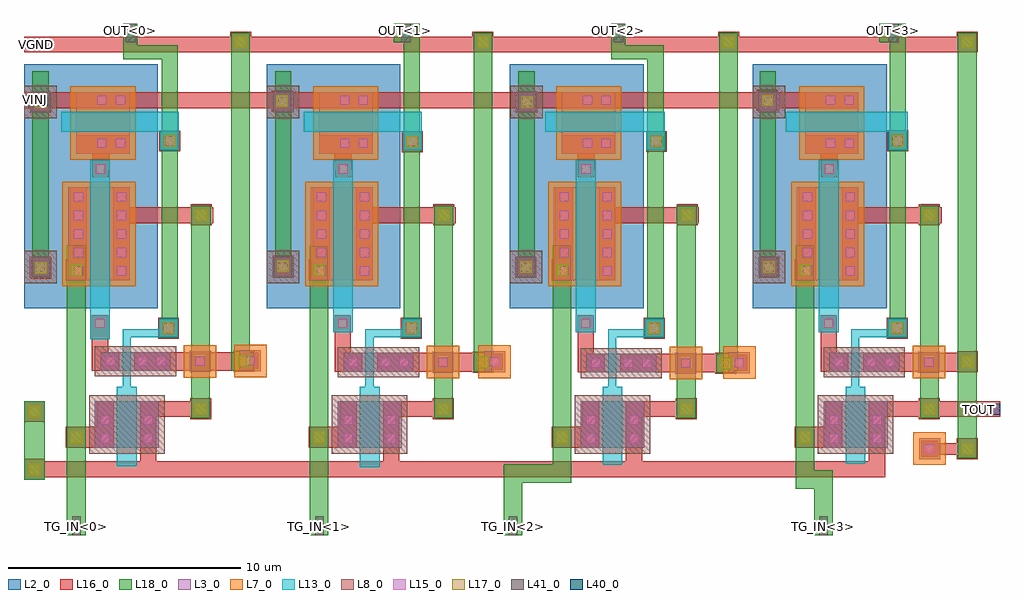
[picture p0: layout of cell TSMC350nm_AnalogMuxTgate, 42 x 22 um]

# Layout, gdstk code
from math import pi, radians
import gdstk
lib = gdstk.Library(unit=1e-6, precision=1e-09)
def R(c, l, rs):  # rectangles x0, y0, x1, y1
    for r in rs: c.add(gdstk.rectangle(r[:2], r[2:], *l))
def A(c, l, x, y, w, h, nx, ny, dx, dy):  # array of equal rectangles
    R(c, l, [(x+i*dx, y+j*dy, x+i*dx+w, y+j*dy+h) for i in range(nx) for j in range(ny)])
L2_0 = (2, 0)
L3_0 = (3, 0)
L7_0 = (7, 0)
L8_0 = (8, 0)
L13_0 = (13, 0)
L15_0 = (15, 0)
L16_0 = (16, 0)
L17_0 = (17, 0)
L18_0 = (18, 0)
L40_0 = (40, 0)
L41_0 = (41, 0)

m1_poly1_cdns_7299568910 = lib.new_cell('M1_POLY1_CDNS_729956891010')
R(m1_poly1_cdns_7299568910, L13_0, [(-0.4,-0.4,0.4,0.4)])
R(m1_poly1_cdns_7299568910, L15_0, [(-0.2,-0.2,0.2,0.2)])
R(m1_poly1_cdns_7299568910, L16_0, [(-0.35,-0.35,0.35,0.35)])

m2_m1_cdns_729956891011 = lib.new_cell('M2_M1_CDNS_729956891011')
R(m2_m1_cdns_729956891011, L16_0, [(-0.45,-0.45,0.45,0.45)])
R(m2_m1_cdns_729956891011, L17_0, [(-0.25,-0.25,0.25,0.25)])
R(m2_m1_cdns_729956891011, L18_0, [(-0.4,-0.4,0.4,0.4)])

m1_nactive_cdns_72995689 = lib.new_cell('M1_NACTIVE_CDNS_729956891012')
R(m1_nactive_cdns_72995689, L3_0, [(-0.45,-0.45,0.45,0.45)])
R(m1_nactive_cdns_72995689, L8_0, [(-0.7,-0.7,0.7,0.7)])
R(m1_nactive_cdns_72995689, L15_0, [(-0.2,-0.2,0.2,0.2)])
R(m1_nactive_cdns_72995689, L16_0, [(-0.35,-0.35,0.35,0.35)])

m1_pactive_cdns_72995689 = lib.new_cell('M1_PACTIVE_CDNS_729956891013')
R(m1_pactive_cdns_72995689, L3_0, [(-0.45,-0.45,0.45,0.45)])
R(m1_pactive_cdns_72995689, L7_0, [(-0.7,-0.7,0.7,0.7)])
R(m1_pactive_cdns_72995689, L15_0, [(-0.2,-0.2,0.2,0.2)])
R(m1_pactive_cdns_72995689, L16_0, [(-0.35,-0.35,0.35,0.35)])

tsmc350nm_analogmuxtgate = lib.new_cell('TSMC350nm_AnalogMuxTgate')
R(tsmc350nm_analogmuxtgate, L2_0, [(0,9.76,5.75,20.26), (10.44,9.76,16.2,20.26), (20.91,9.76,26.66,20.26), (31.37,9.76,37.12,20.26)])
A(tsmc350nm_analogmuxtgate, L3_0, 3.05, 3.76, 2.75, 2, 3, 1, 10.45, 0)
A(tsmc350nm_analogmuxtgate, L3_0, 1.9, 10.96, 2.65, 4, 3, 1, 10.45, 0)
A(tsmc350nm_analogmuxtgate, L3_0, 2.25, 16.41, 2.3, 2.65, 3, 1, 10.45, 0)
R(tsmc350nm_analogmuxtgate, L3_0, [(34.41,3.76,37.16,5.76), (24.2,7,27.2,7.8), (13.75,7.04,16.75,7.84), (34.66,7.04,37.66,7.84), (3.3,7.08,6.3,7.88), (33.26,10.96,35.91,14.96), (33.61,16.41,35.91,19.06)])
A(tsmc350nm_analogmuxtgate, L7_0, 1.65, 10.71, 3.15, 4.5, 3, 1, 10.45, 0)
A(tsmc350nm_analogmuxtgate, L7_0, 2, 16.16, 2.8, 3.15, 3, 1, 10.45, 0)
R(tsmc350nm_analogmuxtgate, L7_0, [(33.01,10.71,36.16,15.21), (33.36,16.16,36.16,19.31)])
A(tsmc350nm_analogmuxtgate, L8_0, 2.8, 3.51, 3.25, 2.5, 3, 1, 10.45, 0)
R(tsmc350nm_analogmuxtgate, L8_0, [(34.16,3.51,37.41,6.01), (23.95,6.75,27.45,8.05), (13.5,6.79,17,8.09), (34.41,6.79,37.91,8.09), (3.05,6.83,6.55,8.13)])
A(tsmc350nm_analogmuxtgate, L13_0, 4.24, 6.34, 0.35, 2.52, 3, 1, 10.45, 0)
A(tsmc350nm_analogmuxtgate, L13_0, 4.24, 8.51, 2.38, 0.35, 3, 1, 10.45, 0)
R(tsmc350nm_analogmuxtgate, L13_0, [(14.45,2.92,15.3,6.38), (4,2.96,4.85,6.38), (24.9,3.03,25.75,6.38), (35.36,3.07,36.21,6.38), (35.6,6.34,35.95,8.86), (2.85,8.42,3.7,16.16), (35.6,8.51,37.98,8.86), (13.3,8.72,14.15,16.16), (23.75,8.72,24.6,16.16), (34.21,8.72,35.06,16.16), (1.61,17.36,6.67,18.21), (12.03,17.36,17.12,18.21), (22.43,17.36,27.57,18.21), (32.79,17.36,38.02,18.21)])
A(tsmc350nm_analogmuxtgate, L15_0, 2.15, 11.16, 0.4, 0.4, 1, 5, 0, 0.8)
A(tsmc350nm_analogmuxtgate, L15_0, 4, 11.16, 0.4, 0.4, 1, 5, 0, 0.8)
A(tsmc350nm_analogmuxtgate, L15_0, 12.6, 11.16, 0.4, 0.4, 1, 5, 0, 0.8)
A(tsmc350nm_analogmuxtgate, L15_0, 14.45, 11.16, 0.4, 0.4, 1, 5, 0, 0.8)
A(tsmc350nm_analogmuxtgate, L15_0, 23.05, 11.16, 0.4, 0.4, 1, 5, 0, 0.8)
A(tsmc350nm_analogmuxtgate, L15_0, 24.9, 11.16, 0.4, 0.4, 1, 5, 0, 0.8)
A(tsmc350nm_analogmuxtgate, L15_0, 33.51, 11.16, 0.4, 0.4, 1, 5, 0, 0.8)
A(tsmc350nm_analogmuxtgate, L15_0, 35.36, 11.16, 0.4, 0.4, 1, 5, 0, 0.8)
R(tsmc350nm_analogmuxtgate, L15_0, [(3.3,3.96,3.7,4.36), (5.15,3.96,5.55,4.36), (13.75,3.96,14.15,4.36), (15.6,3.96,16,4.36), (24.2,3.96,24.6,4.36), (26.05,3.96,26.45,4.36), (34.66,3.96,35.06,4.36), (36.51,3.96,36.91,4.36), (3.3,4.76,3.7,5.16), (5.15,4.76,5.55,5.16), (13.75,4.76,14.15,5.16), (15.6,4.76,16,5.16), (24.2,4.76,24.6,5.16), (26.05,4.76,26.45,5.16), (34.66,4.76,35.06,5.16), (36.51,4.76,36.91,5.16), (24.42,7.2,24.82,7.6), (25.8,7.2,26.2,7.6), (26.6,7.2,27,7.6), (13.97,7.24,14.37,7.64), (15.35,7.24,15.75,7.64), (16.15,7.24,16.55,7.64), (34.88,7.24,35.28,7.64), (36.26,7.24,36.66,7.64), (37.06,7.24,37.46,7.64), (3.52,7.28,3.92,7.68), (4.9,7.28,5.3,7.68), (5.7,7.28,6.1,7.68), (3.15,16.66,3.55,17.06), (3.95,16.66,4.35,17.06), (13.6,16.66,14,17.06), (14.4,16.66,14.8,17.06), (24.05,16.66,24.45,17.06), (24.85,16.66,25.25,17.06), (34.51,16.66,34.91,17.06), (35.31,16.66,35.71,17.06), (3.15,18.51,3.55,18.91), (3.95,18.51,4.35,18.91), (13.6,18.51,14,18.91), (14.4,18.51,14.8,18.91), (24.05,18.51,24.45,18.91), (24.85,18.51,25.25,18.91), (34.51,18.51,34.91,18.91), (35.31,18.51,35.71,18.91)])
A(tsmc350nm_analogmuxtgate, L16_0, 5, 3.17, 0.7, 2.6, 3, 1, 10.45, 0)
A(tsmc350nm_analogmuxtgate, L16_0, 2.7, 3.76, 1.16, 0.9, 3, 1, 10.45, 0)
A(tsmc350nm_analogmuxtgate, L16_0, 3.13, 3.76, 0.73, 2.01, 3, 1, 10.45, 0)
A(tsmc350nm_analogmuxtgate, L16_0, 5.7, 5.09, 2.3, 0.68, 3, 1, 10.45, 0)
A(tsmc350nm_analogmuxtgate, L16_0, 1.97, 10.96, 0.74, 4, 3, 1, 10.45, 0)
A(tsmc350nm_analogmuxtgate, L16_0, 3.85, 10.96, 0.7, 4, 3, 1, 10.45, 0)
A(tsmc350nm_analogmuxtgate, L16_0, 3.85, 13.42, 4.29, 0.69, 3, 1, 10.45, 0)
A(tsmc350nm_analogmuxtgate, L16_0, 2.93, 15.72, 0.73, 1.49, 3, 1, 10.45, 0)
A(tsmc350nm_analogmuxtgate, L16_0, 2.25, 16.41, 2.3, 0.8, 3, 1, 10.45, 0)
A(tsmc350nm_analogmuxtgate, L16_0, 2.25, 18.36, 2.3, 0.7, 3, 1, 10.45, 0)
R(tsmc350nm_analogmuxtgate, L16_0, [(0,2.49,37.06,3.17), (36.36,3.17,37.06,5.77), (34.06,3.76,35.22,4.66), (34.49,3.76,35.22,5.77), (37.06,5.09,42,5.77), (23.82,7,25,7.8), (25.65,7,27.2,7.8), (27.2,7,29.84,7.8), (13.37,7.04,14.55,7.84), (15.2,7.04,16.75,7.84), (16.75,7.04,19.39,7.84), (34.28,7.04,35.46,7.84), (36.11,7.04,37.66,7.84), (37.66,7.04,40.3,7.84), (2.92,7.08,4.1,7.88), (4.75,7.08,6.3,7.88), (6.3,7.08,9.04,7.88), (23.82,7.79,24.52,8.77), (13.37,7.84,14.07,8.77), (34.28,7.84,34.98,8.77), (2.92,7.88,3.62,8.77), (33.33,10.96,34.07,14.96), (35.21,10.96,35.91,14.96), (35.21,13.42,39.5,14.11), (34.29,15.72,35.02,17.21), (33.61,16.41,35.91,17.21), (0,18.36,35.91,19.06), (0,20.77,41.04,21.45)])
A(tsmc350nm_analogmuxtgate, L18_0, 7.2, 5.03, 0.8, 9.15, 3, 1, 10.45, 0)
R(tsmc350nm_analogmuxtgate, L18_0, [(1.85,0,2.65,12.47), (12.3,0,13.1,12.46), (0,2.38,0.9,5.77), (33.21,2.8,34.01,12.47), (22.75,3.06,23.55,12.47), (40.19,3.31,40.99,21.62), (38.56,5.03,39.36,14.18), (8.92,7.08,9.72,21.62), (19.35,7.08,20.15,21.62), (29.92,7.08,30.72,21.62), (16.34,8.49,17.04,22), (5.92,8.5,6.62,21.07), (26.83,8.5,27.53,21.07), (37.25,8.5,37.95,22), (0.36,11.1,1.06,19.96), (10.81,11.1,11.51,19.96), (21.27,11.1,21.97,19.96), (31.66,11.1,32.36,19.96)])
R(tsmc350nm_analogmuxtgate, L40_0, [(40.96,5.17,42,5.655), (0,18.48,1.03,18.92), (0,20.96,0.96,21.29)])
R(tsmc350nm_analogmuxtgate, L41_0, [(2.08,0,2.44,0.82), (12.53,0,12.89,0.82), (20.86,0,21.22,0.82), (34.23,0,34.59,0.82), (4.38,21.21,4.8,22), (16.23,21.21,16.65,22), (25.37,21.21,25.79,22), (37.22,21.215,37.64,22)])
tsmc350nm_analogmuxtgate.add(gdstk.FlexPath([(38.97,3.72),(38.97,3.71)], 0.5, ends=(0, 0.25), simple_path=True, layer=16, datatype=0))  # L16_0
tsmc350nm_analogmuxtgate.add(gdstk.FlexPath([(38.97,3.71),(40.59,3.71)], 0.5, ends=(0.25, 0), simple_path=True, layer=16, datatype=0))  # L16_0
tsmc350nm_analogmuxtgate.add(gdstk.FlexPath([(21.04,2.66),(21.04,0)], 0.8, ends=(0.4, 0), simple_path=True, layer=18, datatype=0))  # L18_0
tsmc350nm_analogmuxtgate.add(gdstk.FlexPath([(23.15,2.66),(21.04,2.66)], 0.8, ends="extended", simple_path=True, layer=18, datatype=0))  # L18_0
tsmc350nm_analogmuxtgate.add(gdstk.FlexPath([(34.41,2.4),(34.41,0)], 0.8, ends=(0.4, 0), simple_path=True, layer=18, datatype=0))  # L18_0
tsmc350nm_analogmuxtgate.add(gdstk.FlexPath([(33.61,2.4),(34.41,2.4)], 0.8, ends="extended", simple_path=True, layer=18, datatype=0))  # L18_0
tsmc350nm_analogmuxtgate.add(gdstk.FlexPath([(25.57,22),(25.57,20.77)], 0.6, ends=(0, 0.3), simple_path=True, layer=18, datatype=0))  # L18_0
tsmc350nm_analogmuxtgate.add(gdstk.FlexPath([(4.57,22),(4.57,20.77)], 0.6, ends=(0, 0.3), simple_path=True, layer=18, datatype=0))  # L18_0
tsmc350nm_analogmuxtgate.add(gdstk.FlexPath([(4.57,20.77),(5.92,20.77)], 0.6, ends=(0.3, 0), simple_path=True, layer=18, datatype=0))  # L18_0
tsmc350nm_analogmuxtgate.add(gdstk.FlexPath([(25.57,20.77),(26.83,20.77)], 0.6, ends=(0.3, 0), simple_path=True, layer=18, datatype=0))  # L18_0
tsmc350nm_analogmuxtgate.add(gdstk.FlexPath([(37.95,21.605),(36.8,21.605)], 0.79, ends="flush", simple_path=True, layer=18, datatype=0))  # L18_0
tsmc350nm_analogmuxtgate.add(gdstk.FlexPath([(16.49,21.605),(15.91,21.605)], 0.79, ends="flush", simple_path=True, layer=18, datatype=0))  # L18_0
tsmc350nm_analogmuxtgate.add(gdstk.Reference(m1_poly1_cdns_7299568910, (34.63,9.12)))
tsmc350nm_analogmuxtgate.add(gdstk.Reference(m1_poly1_cdns_7299568910, (37.58,8.91)))
tsmc350nm_analogmuxtgate.add(gdstk.Reference(m1_poly1_cdns_7299568910, (34.65,15.76)))
tsmc350nm_analogmuxtgate.add(gdstk.Reference(m1_poly1_cdns_7299568910, (27.17,16.96)))
tsmc350nm_analogmuxtgate.add(gdstk.Reference(m1_poly1_cdns_7299568910, (16.72,16.96)))
tsmc350nm_analogmuxtgate.add(gdstk.Reference(m1_poly1_cdns_7299568910, (24.17,9.12)))
tsmc350nm_analogmuxtgate.add(gdstk.Reference(m1_poly1_cdns_7299568910, (27.12,8.91)))
tsmc350nm_analogmuxtgate.add(gdstk.Reference(m1_poly1_cdns_7299568910, (37.62,16.96)))
tsmc350nm_analogmuxtgate.add(gdstk.Reference(m1_poly1_cdns_7299568910, (6.27,16.96)))
tsmc350nm_analogmuxtgate.add(gdstk.Reference(m1_poly1_cdns_7299568910, (3.27,9.12)))
tsmc350nm_analogmuxtgate.add(gdstk.Reference(m1_poly1_cdns_7299568910, (6.22,8.91)))
tsmc350nm_analogmuxtgate.add(gdstk.Reference(m1_poly1_cdns_7299568910, (24.19,15.76)))
tsmc350nm_analogmuxtgate.add(gdstk.Reference(m1_poly1_cdns_7299568910, (13.74,15.76)))
tsmc350nm_analogmuxtgate.add(gdstk.Reference(m1_poly1_cdns_7299568910, (16.67,8.91)))
tsmc350nm_analogmuxtgate.add(gdstk.Reference(m1_poly1_cdns_7299568910, (3.29,15.76)))
tsmc350nm_analogmuxtgate.add(gdstk.Reference(m1_poly1_cdns_7299568910, (13.72,9.12)))
tsmc350nm_analogmuxtgate.add(gdstk.Reference(m2_m1_cdns_729956891011, (40.59,21.22)))
tsmc350nm_analogmuxtgate.add(gdstk.Reference(m2_m1_cdns_729956891011, (30.32,21.22)))
tsmc350nm_analogmuxtgate.add(gdstk.Reference(m2_m1_cdns_729956891011, (19.75,21.22)))
tsmc350nm_analogmuxtgate.add(gdstk.Reference(m2_m1_cdns_729956891011, (9.32,21.22)))
tsmc350nm_analogmuxtgate.add(gdstk.Reference(m2_m1_cdns_729956891011, (32.06,11.53)))
tsmc350nm_analogmuxtgate.add(gdstk.Reference(m2_m1_cdns_729956891011, (31.99,18.71)))
tsmc350nm_analogmuxtgate.add(gdstk.Reference(m2_m1_cdns_729956891011, (21.64,18.63)))
tsmc350nm_analogmuxtgate.add(gdstk.Reference(m2_m1_cdns_729956891011, (21.6,11.53)))
tsmc350nm_analogmuxtgate.add(gdstk.Reference(m2_m1_cdns_729956891011, (11.15,11.57)))
tsmc350nm_analogmuxtgate.add(gdstk.Reference(m2_m1_cdns_729956891011, (33.61,4.21)))
tsmc350nm_analogmuxtgate.add(gdstk.Reference(m2_m1_cdns_729956891011, (37.58,8.9)))
tsmc350nm_analogmuxtgate.add(gdstk.Reference(m2_m1_cdns_729956891011, (33.61,11.41)))
tsmc350nm_analogmuxtgate.add(gdstk.Reference(m2_m1_cdns_729956891011, (38.96,5.43)))
tsmc350nm_analogmuxtgate.add(gdstk.Reference(m2_m1_cdns_729956891011, (38.96,13.78)))
tsmc350nm_analogmuxtgate.add(gdstk.Reference(m2_m1_cdns_729956891011, (0.73,11.49)))
tsmc350nm_analogmuxtgate.add(gdstk.Reference(m2_m1_cdns_729956891011, (0.45,2.83)))
tsmc350nm_analogmuxtgate.add(gdstk.Reference(m2_m1_cdns_729956891011, (0.45,5.32)))
tsmc350nm_analogmuxtgate.add(gdstk.Reference(m2_m1_cdns_729956891011, (40.59,3.71)))
tsmc350nm_analogmuxtgate.add(gdstk.Reference(m2_m1_cdns_729956891011, (9.48,7.49)))
tsmc350nm_analogmuxtgate.add(gdstk.Reference(m2_m1_cdns_729956891011, (19.76,7.44)))
tsmc350nm_analogmuxtgate.add(gdstk.Reference(m2_m1_cdns_729956891011, (27.22,16.94)))
tsmc350nm_analogmuxtgate.add(gdstk.Reference(m2_m1_cdns_729956891011, (30.19,7.39)))
tsmc350nm_analogmuxtgate.add(gdstk.Reference(m2_m1_cdns_729956891011, (40.6,7.46)))
tsmc350nm_analogmuxtgate.add(gdstk.Reference(m2_m1_cdns_729956891011, (12.7,4.21)))
tsmc350nm_analogmuxtgate.add(gdstk.Reference(m2_m1_cdns_729956891011, (6.22,8.9)))
tsmc350nm_analogmuxtgate.add(gdstk.Reference(m2_m1_cdns_729956891011, (23.15,4.21)))
tsmc350nm_analogmuxtgate.add(gdstk.Reference(m2_m1_cdns_729956891011, (7.6,5.43)))
tsmc350nm_analogmuxtgate.add(gdstk.Reference(m2_m1_cdns_729956891011, (16.67,8.9)))
tsmc350nm_analogmuxtgate.add(gdstk.Reference(m2_m1_cdns_729956891011, (6.27,16.96)))
tsmc350nm_analogmuxtgate.add(gdstk.Reference(m2_m1_cdns_729956891011, (27.12,8.9)))
tsmc350nm_analogmuxtgate.add(gdstk.Reference(m2_m1_cdns_729956891011, (2.25,4.21)))
tsmc350nm_analogmuxtgate.add(gdstk.Reference(m2_m1_cdns_729956891011, (16.71,16.92)))
tsmc350nm_analogmuxtgate.add(gdstk.Reference(m2_m1_cdns_729956891011, (11.11,18.67)))
tsmc350nm_analogmuxtgate.add(gdstk.Reference(m2_m1_cdns_729956891011, (18.07,13.78)))
tsmc350nm_analogmuxtgate.add(gdstk.Reference(m2_m1_cdns_729956891011, (2.25,11.41)))
tsmc350nm_analogmuxtgate.add(gdstk.Reference(m2_m1_cdns_729956891011, (7.63,13.78)))
tsmc350nm_analogmuxtgate.add(gdstk.Reference(m2_m1_cdns_729956891011, (12.7,11.41)))
tsmc350nm_analogmuxtgate.add(gdstk.Reference(m2_m1_cdns_729956891011, (18.05,5.43)))
tsmc350nm_analogmuxtgate.add(gdstk.Reference(m2_m1_cdns_729956891011, (37.6,16.97)))
tsmc350nm_analogmuxtgate.add(gdstk.Reference(m2_m1_cdns_729956891011, (23.15,11.41)))
tsmc350nm_analogmuxtgate.add(gdstk.Reference(m2_m1_cdns_729956891011, (0.73,18.63)))
tsmc350nm_analogmuxtgate.add(gdstk.Reference(m2_m1_cdns_729956891011, (28.5,5.43)))
tsmc350nm_analogmuxtgate.add(gdstk.Reference(m2_m1_cdns_729956891011, (28.55,13.78)))
tsmc350nm_analogmuxtgate.add(gdstk.Reference(m1_nactive_cdns_72995689, (32.05,18.64), rotation=3*pi/2))
tsmc350nm_analogmuxtgate.add(gdstk.Reference(m1_nactive_cdns_72995689, (21.62,18.64), rotation=3*pi/2))
tsmc350nm_analogmuxtgate.add(gdstk.Reference(m1_nactive_cdns_72995689, (11.15,18.64), rotation=3*pi/2))
tsmc350nm_analogmuxtgate.add(gdstk.Reference(m1_nactive_cdns_72995689, (32.06,11.53)))
tsmc350nm_analogmuxtgate.add(gdstk.Reference(m1_nactive_cdns_72995689, (0.7,11.53)))
tsmc350nm_analogmuxtgate.add(gdstk.Reference(m1_nactive_cdns_72995689, (0.72,18.64), rotation=3*pi/2))
tsmc350nm_analogmuxtgate.add(gdstk.Reference(m1_nactive_cdns_72995689, (21.6,11.53)))
tsmc350nm_analogmuxtgate.add(gdstk.Reference(m1_nactive_cdns_72995689, (11.15,11.53)))
tsmc350nm_analogmuxtgate.add(gdstk.Reference(m1_pactive_cdns_72995689, (38.94,7.44), rotation=pi))
tsmc350nm_analogmuxtgate.add(gdstk.Reference(m1_pactive_cdns_72995689, (38.97,3.72)))
tsmc350nm_analogmuxtgate.add(gdstk.Reference(m1_pactive_cdns_72995689, (20.25,7.46)))
tsmc350nm_analogmuxtgate.add(gdstk.Reference(m1_pactive_cdns_72995689, (9.74,7.5)))
tsmc350nm_analogmuxtgate.add(gdstk.Reference(m1_pactive_cdns_72995689, (7.58,7.48), rotation=pi))
tsmc350nm_analogmuxtgate.add(gdstk.Reference(m1_pactive_cdns_72995689, (18.03,7.44), rotation=pi))
tsmc350nm_analogmuxtgate.add(gdstk.Reference(m1_pactive_cdns_72995689, (28.48,7.4), rotation=pi))
tsmc350nm_analogmuxtgate.add(gdstk.Reference(m1_pactive_cdns_72995689, (30.78,7.42)))
tsmc350nm_analogmuxtgate.add(gdstk.Label('VGND', (0.53,21.11), layer=40, texttype=0))
tsmc350nm_analogmuxtgate.add(gdstk.Label('VINJ', (0.48,18.74), layer=40, texttype=0))
tsmc350nm_analogmuxtgate.add(gdstk.Label('TOUT', (41.08,5.41), layer=40, texttype=0))
tsmc350nm_analogmuxtgate.add(gdstk.Label('OUT<3>', (37.42,21.705), layer=41, texttype=0))
tsmc350nm_analogmuxtgate.add(gdstk.Label('OUT<2>', (25.57,21.7), layer=41, texttype=0))
tsmc350nm_analogmuxtgate.add(gdstk.Label('OUT<1>', (16.43,21.7), layer=41, texttype=0))
tsmc350nm_analogmuxtgate.add(gdstk.Label('OUT<0>', (4.58,21.7), layer=41, texttype=0))
tsmc350nm_analogmuxtgate.add(gdstk.Label('TG_IN<2>', (21.05,0.39), layer=41, texttype=0))
tsmc350nm_analogmuxtgate.add(gdstk.Label('TG_IN<1>', (12.72,0.39), layer=41, texttype=0))
tsmc350nm_analogmuxtgate.add(gdstk.Label('TG_IN<0>', (2.27,0.39), layer=41, texttype=0))
tsmc350nm_analogmuxtgate.add(gdstk.Label('TG_IN<3>', (34.42,0.39), layer=41, texttype=0))

lib.write_gds('TSMC350nm_AnalogMuxTgate.gds')
